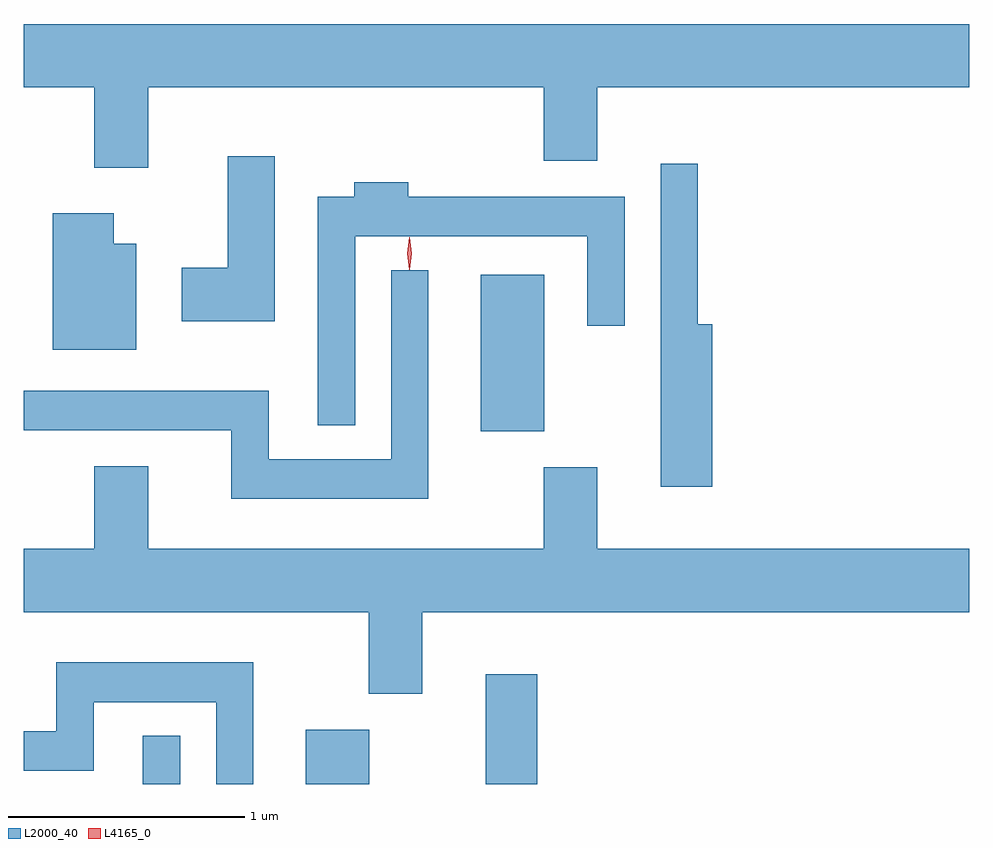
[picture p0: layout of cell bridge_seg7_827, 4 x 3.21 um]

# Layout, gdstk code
import gdstk
lib = gdstk.Library(unit=1e-6, precision=1e-09)
def R(c, l, rs):  # rectangles x0, y0, x1, y1
    for r in rs: c.add(gdstk.rectangle(r[:2], r[2:], *l))
def P(c, l, *ps):  # polygons
    for p in ps: c.add(gdstk.Polygon(p, *l))
L2000_40 = (2000, 40)
L4165_0 = (4165, 0)

bridge_seg7_827 = lib.new_cell('bridge_seg7_827')
R(bridge_seg7_827, L2000_40, [(319.276,1691.39,319.434,1691.593), (319.966,1691.39,320.234,1691.619), (320.726,1691.39,320.944,1691.854), (320.706,1692.881,320.974,1693.544)])
P(bridge_seg7_827, L2000_40, [(319.299,1694.336),(320.971,1694.336),(320.971,1694.026),(321.199,1694.026),(321.199,1694.336),(322.772,1694.336),(322.772,1694.604),(318.772,1694.604),(318.772,1694.336),(319.071,1694.336),(319.071,1693.996),(319.299,1693.996)],
  [(319.834,1694.044),(319.636,1694.044),(319.636,1693.574),(319.441,1693.574),(319.441,1693.346),(319.834,1693.346)],
  [(321.684,1693.334),(321.624,1693.334),(321.624,1694.013),(321.466,1694.013),(321.466,1692.646),(321.684,1692.646)],
  [(320.174,1693.706),(321.156,1693.706),(321.156,1693.328),(321.314,1693.328),(321.314,1693.874),(320.399,1693.874),(320.399,1693.934),(320.171,1693.934),(320.171,1693.874),(320.016,1693.874),(320.016,1692.908),(320.174,1692.908)],
  [(319.249,1693.674),(319.154,1693.674),(319.154,1693.804),(318.896,1693.804),(318.896,1693.226),(319.249,1693.226)],
  [(320.484,1693.563),(320.326,1693.563),(320.326,1692.764),(319.809,1692.764),(319.809,1693.054),(318.772,1693.054),(318.772,1692.886),(319.651,1692.886),(319.651,1692.596),(320.484,1692.596)],
  [(320.459,1692.116),(322.772,1692.116),(322.772,1692.384),(321.199,1692.384),(321.199,1692.729),(320.971,1692.729),(320.971,1692.384),(319.299,1692.384),(319.299,1692.734),(319.071,1692.734),(319.071,1692.384),(318.772,1692.384),(318.772,1692.116),(320.231,1692.116),(320.231,1691.771),(320.459,1691.771)],
  [(319.744,1691.904),(318.911,1691.904),(318.911,1691.614),(318.772,1691.614),(318.772,1691.446),(319.069,1691.446),(319.069,1691.736),(319.586,1691.736),(319.586,1691.39),(319.744,1691.39)])
P(bridge_seg7_827, L4165_0, [(320.404,1693.564),(320.404,1693.564),(320.394,1693.634),(320.404,1693.703),(320.404,1693.703),(320.405,1693.703),(320.414,1693.634),(320.405,1693.564)])

lib.write_gds('bridge_seg7_827.gds')
